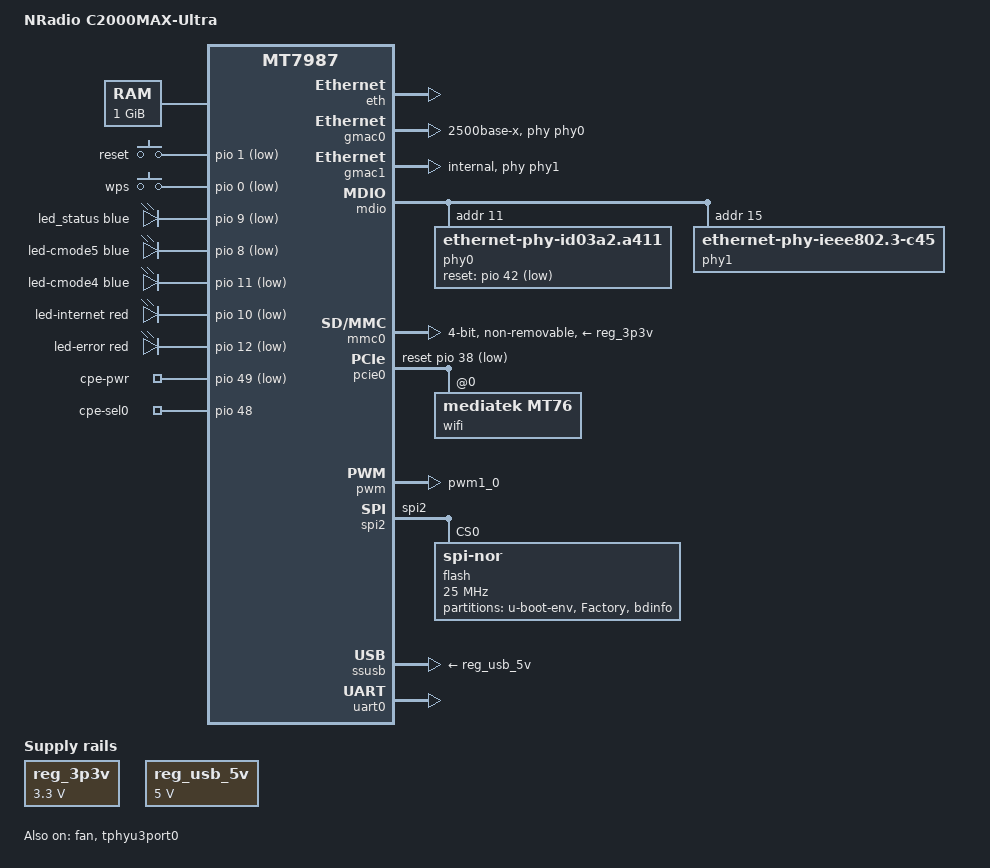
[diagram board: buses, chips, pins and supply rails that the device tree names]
// SPDX-License-Identifier: GPL-2.0-only OR MIT
/*
 * NRadio C2000MAX-Ultra (MT7987A).
 *
 * Second-system root follows the vendor layout already used by the official
 * NRadio C8 port: the bootloader starts this kernel with PARTLABEL=rootfs_2nd.
 * Pin assignments match the device tree the board is running today.
 */

/dts-v1/;
#include "mt7987a.dtsi"
#include <dt-bindings/input/input.h>

/ {
	model = "NRadio C2000MAX-Ultra";
	compatible = "nradio,c2000-ultra", "mediatek,mt7987a", "mediatek,mt7987";

	aliases {
		serial0 = &uart0;
		led-boot = &led_status;
		led-failsafe = &led_status;
		led-running = &led_status;
		led-upgrade = &led_status;
		ethernet0 = &gmac0;
		ethernet1 = &gmac1;
	};

	chosen {
		stdout-path = "serial0:115200n8";
		bootargs = "console=ttyS0,115200n8 earlycon=uart8250,mmio32,0x11000000 root=PARTLABEL=rootfs_2nd rootwait pci=pcie_bus_perf";
	};

	/* Board has 1 GiB. The SoC dtsi default is 256 MiB. */
	memory {
		device_type = "memory";
		reg = <0x0 0x40000000 0x0 0x40000000>;
	};

	gpio-keys {
		compatible = "gpio-keys";

		reset {
			label = "reset";
			linux,code = <KEY_RESTART>;
			gpios = <&pio 1 GPIO_ACTIVE_LOW>;
			debounce-interval = <10>;
		};

		wps {
			label = "wps";
			linux,code = <KEY_WPS_BUTTON>;
			gpios = <&pio 0 GPIO_ACTIVE_LOW>;
			debounce-interval = <10>;
		};
	};

	leds {
		compatible = "gpio-leds";

		led_status: status {
			color = <LED_COLOR_ID_BLUE>;
			function = LED_FUNCTION_STATUS;
			gpios = <&pio 9 GPIO_ACTIVE_LOW>;
			default-state = "on";
		};

		led-cmode5 {
			color = <LED_COLOR_ID_BLUE>;
			function = LED_FUNCTION_INDICATOR;
			function-enumerator = <5>;
			gpios = <&pio 8 GPIO_ACTIVE_LOW>;
		};

		led-cmode4 {
			color = <LED_COLOR_ID_BLUE>;
			function = LED_FUNCTION_INDICATOR;
			function-enumerator = <4>;
			gpios = <&pio 11 GPIO_ACTIVE_LOW>;
		};

		led-internet {
			color = <LED_COLOR_ID_RED>;
			function = LED_FUNCTION_WAN;
			gpios = <&pio 10 GPIO_ACTIVE_LOW>;
		};

		led-error {
			color = <LED_COLOR_ID_RED>;
			function = LED_FUNCTION_FAULT;
			gpios = <&pio 12 GPIO_ACTIVE_LOW>;
		};
	};

	/*
	 * Modem power and SIM select. Values match the running board so the
	 * MT5700M stays powered the way the bootloader left it.
	 */
	gpio-export {
		compatible = "gpio-export";

		cpepower {
			gpio-export,name = "cpe-pwr";
			gpio-export,output = <0>;
			gpios = <&pio 49 GPIO_ACTIVE_LOW>;
		};

		cpesel0 {
			gpio-export,name = "cpe-sel0";
			gpio-export,output = <0>;
			gpios = <&pio 48 GPIO_ACTIVE_HIGH>;
		};
	};

	reg_3p3v: regulator-3p3v {
		compatible = "regulator-fixed";
		regulator-name = "fixed-3.3V";
		regulator-min-microvolt = <3300000>;
		regulator-max-microvolt = <3300000>;
		regulator-boot-on;
		regulator-always-on;
	};

	reg_usb_5v: regulator-usb-5v {
		compatible = "regulator-fixed";
		regulator-name = "usb-5v";
		regulator-min-microvolt = <5000000>;
		regulator-max-microvolt = <5000000>;
		regulator-boot-on;
		regulator-always-on;
	};
};

&eth {
	status = "okay";
};

&gmac0 {
	phy-mode = "2500base-x";
	phy-handle = <&phy0>;
	status = "okay";
};

&gmac1 {
	phy-mode = "internal";
	phy-handle = <&phy1>;
	status = "okay";
};

&mdio {
	/* Airoha EN8811H, PHY ID 03a2.a411, MDIO address 11. */
	phy0: phy@b {
		compatible = "ethernet-phy-id03a2.a411";
		reg = <11>;
		reset-gpios = <&pio 42 GPIO_ACTIVE_LOW>;
		reset-assert-us = <10000>;
		reset-deassert-us = <10000>;
		phy-mode = "2500base-x";
	};

	/* SoC built-in 2.5G PHY. */
	phy1: phy@f {
		compatible = "ethernet-phy-ieee802.3-c45";
		reg = <15>;
		pinctrl-names = "i2p5gbe-led";
		pinctrl-0 = <&i2p5gbe_led0_pins>;
	};
};

&mmc0 {
	pinctrl-names = "default", "state_uhs";
	pinctrl-0 = <&mmc_pins_default>;
	pinctrl-1 = <&mmc_pins_uhs>;
	bus-width = <4>;
	max-frequency = <50000000>;
	cap-sd-highspeed;
	no-mmc;
	no-sdio;
	non-removable;
	broken-cd;
	vmmc-supply = <&reg_3p3v>;
	vqmmc-supply = <&reg_3p3v>;
	status = "okay";
};

&pcie0 {
	pinctrl-names = "default";
	pinctrl-0 = <&pcie0_pins>;
	/* Deasserted level on this board is physical high. */
	reset-gpios = <&pio 38 GPIO_ACTIVE_LOW>;
	status = "okay";

	pcie@0,0 {
		reg = <0x0000 0 0 0 0>;
		#address-cells = <3>;
		#size-cells = <2>;
		device_type = "pci";

		wifi@0,0 {
			compatible = "mediatek,mt76";
			reg = <0x0000 0 0 0 0>;
			nvmem-cells = <&eeprom_factory>;
			nvmem-cell-names = "eeprom";

			#address-cells = <1>;
			#size-cells = <0>;

			ieee80211-freq-limit = <2400000 2500000>,
					       <5170000 5835000>;
		};
	};
};

&pcie1 {
	status = "disabled";
};

&pio {
	pwm_fan_pins: pwm-fan-pins {
		mux {
			function = "pwm";
			groups = "pwm1_0";
		};
	};

	spi2_pins: spi2-pins {
		mux {
			function = "spi";
			groups = "spi2";
		};
	};
};

&pwm {
	pinctrl-names = "default";
	pinctrl-0 = <&pwm_fan_pins>;
	status = "okay";
};

&fan {
	pwms = <&pwm 1 50000 0>;
	status = "okay";
};

&spi2 {
	pinctrl-names = "default";
	pinctrl-0 = <&spi2_pins>;
	status = "okay";

	flash@0 {
		compatible = "jedec,spi-nor";
		reg = <0>;
		spi-max-frequency = <25000000>;

		partitions {
			compatible = "fixed-partitions";
			#address-cells = <1>;
			#size-cells = <1>;

			partition@40000 {
				label = "u-boot-env";
				reg = <0x40000 0x10000>;
			};

			partition@50000 {
				label = "Factory";
				reg = <0x50000 0x100000>;
				read-only;

				nvmem-layout {
					compatible = "fixed-layout";
					#address-cells = <1>;
					#size-cells = <1>;

					eeprom_factory: eeprom@0 {
						reg = <0x0 0x1e00>;
					};
				};
			};

			partition@150000 {
				label = "bdinfo";
				reg = <0x150000 0x80000>;
				read-only;
			};
		};
	};
};

&ssusb {
	status = "okay";
	vusb33-supply = <&reg_3p3v>;
	vbus-supply = <&reg_usb_5v>;
};

&tphyu3port0 {
	status = "okay";
};

&uart0 {
	pinctrl-names = "default";
	pinctrl-0 = <&uart0_pins>;
	status = "okay";
};
